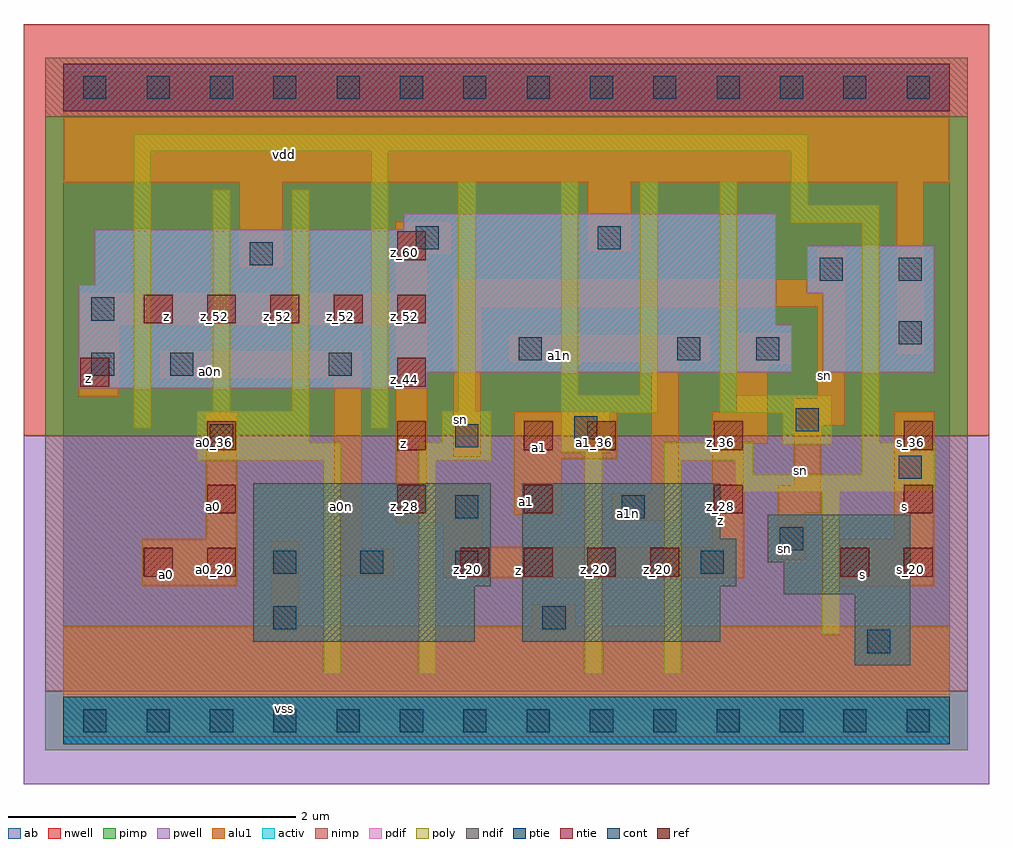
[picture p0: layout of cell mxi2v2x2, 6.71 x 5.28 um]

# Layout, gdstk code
import gdstk
lib = gdstk.Library(unit=1e-6, precision=2.5e-09)
def R(c, l, rs):  # rectangles x0, y0, x1, y1
    for r in rs: c.add(gdstk.rectangle(r[:2], r[2:], *l))
def A(c, l, x, y, w, h, nx, ny, dx, dy):  # array of equal rectangles
    R(c, l, [(x+i*dx, y+j*dy, x+i*dx+w, y+j*dy+h) for i in range(nx) for j in range(ny)])
ndif = (3, 0)
pdif = (4, 0)
ntie = (5, 0)
ptie = (6, 0)
ref = (24, 0)
cont = (25, 0)
pwell = (41, 0)
nwell = (42, 0)
activ = (43, 0)
pimp = (44, 0)
nimp = (45, 0)
poly = (46, 0)
alu1 = (49, 0)
ab = (63, 0)

mxi2v2x2 = lib.new_cell('mxi2v2x2')
R(mxi2v2x2, ndif, [(5.5,0.385,5.885,0.88), (1.32,0.55,2.86,0.935), (3.19,0.55,4.565,0.935), (5.005,0.88,5.885,1.1), (1.32,0.935,2.97,1.65), (3.19,0.935,4.675,1.265), (4.895,1.1,5.885,1.43), (3.19,1.265,4.565,1.65)])
R(mxi2v2x2, pdif, [(0.11,2.31,2.53,2.42), (0.11,2.42,5.06,2.75), (5.28,2.42,6.05,2.97), (0.11,2.75,4.95,3.025), (5.17,2.97,6.05,3.3), (0.22,3.025,4.95,3.41), (2.365,3.41,4.95,3.52)])
R(mxi2v2x2, ntie, [(0,4.235,6.16,4.565)])
R(mxi2v2x2, ptie, [(0,-0.165,6.16,0.165)])
A(mxi2v2x2, ref, 1, 1, 0.2, 0.2, 1, 3, 0, 0.44)
A(mxi2v2x2, ref, 2.76, 1, 0.2, 0.2, 4, 1, 0.44, 0)
A(mxi2v2x2, ref, 2.32, 1.44, 0.2, 0.2, 1, 3, 0, 0.44)
A(mxi2v2x2, ref, 3.2, 1.44, 0.2, 0.2, 3, 1, 1.32, 0)
A(mxi2v2x2, ref, 0.56, 2.76, 0.2, 0.2, 5, 1, 0.44, 0)
R(mxi2v2x2, ref, [(0.56,1,0.76,1.2), (5.4,1,5.6,1.2), (5.84,1,6.04,1.2), (3.2,1.88,3.4,2.08), (3.64,1.88,3.84,2.08), (4.52,1.88,4.72,2.08), (5.84,1.88,6.04,2.08), (0.12,2.32,0.32,2.52), (2.32,3.2,2.52,3.4)])
A(mxi2v2x2, cont, 0.14, -0.08, 0.16, 0.16, 14, 2, 0.44, 4.4)
R(mxi2v2x2, cont, [(5.585,0.47,5.745,0.63), (1.46,0.635,1.62,0.795), (3.33,0.635,3.49,0.795), (1.46,1.02,1.62,1.18), (2.065,1.02,2.225,1.18), (2.725,1.02,2.885,1.18), (4.43,1.02,4.59,1.18), (4.98,1.185,5.14,1.345), (2.725,1.405,2.885,1.565), (3.88,1.405,4.04,1.565), (5.805,1.68,5.965,1.84), (1.02,1.9,1.18,2.06), (2.725,1.9,2.885,2.06), (3.55,1.955,3.71,2.115), (5.09,2.01,5.25,2.17), (0.195,2.395,0.355,2.555), (0.745,2.395,0.905,2.555), (1.845,2.395,2.005,2.555), (3.165,2.505,3.325,2.665), (4.265,2.505,4.425,2.665), (4.815,2.505,4.975,2.665), (5.805,2.615,5.965,2.775), (0.195,2.78,0.355,2.94), (5.255,3.055,5.415,3.215), (5.805,3.055,5.965,3.215), (1.295,3.165,1.455,3.325), (2.45,3.275,2.61,3.435), (3.715,3.275,3.875,3.435)])
R(mxi2v2x2, pwell, [(-0.275,-0.44,6.435,1.98)])
R(mxi2v2x2, nwell, [(-0.275,1.98,6.435,4.84)])
R(mxi2v2x2, activ, [(0,-0.165,6.16,0.165), (5.5,0.385,5.885,0.88), (1.32,0.55,2.86,0.935), (3.19,0.55,4.565,0.935), (5.005,0.88,5.885,1.1), (1.32,0.935,2.97,1.65), (3.19,0.935,4.675,1.265), (4.895,1.1,5.885,1.43), (3.19,1.265,4.565,1.65), (0.11,2.31,2.53,2.42), (0.11,2.42,5.06,2.75), (5.28,2.42,6.05,2.97), (0.11,2.75,4.95,3.025), (5.17,2.97,6.05,3.3), (0.22,3.025,4.95,3.41), (2.365,3.41,4.95,3.52), (0,4.235,6.16,4.565)])
R(mxi2v2x2, pimp, [(-0.125,-0.205,6.285,0.205), (-0.125,1.98,6.285,4.195)])
R(mxi2v2x2, nimp, [(-0.125,0.205,6.285,1.98), (-0.125,4.195,6.285,4.605)])
A(mxi2v2x2, poly, 3.46, 2.26, 0.12, 1.485, 3, 1, 0.55, 0)
R(mxi2v2x2, poly, [(1.81,0.325,1.93,1.81), (2.47,0.325,2.59,1.81), (3.625,0.325,3.745,1.865), (4.175,0.325,4.295,1.81), (5.275,0.6,5.395,1.59), (4.67,1.59,6.055,1.71), (4.67,1.71,4.79,1.81), (5.55,1.71,6.055,1.93), (0.93,1.81,1.93,1.93), (2.47,1.81,2.975,1.93), (4.175,1.81,4.79,1.93), (3.46,1.865,3.8,2.14), (5,1.92,5.34,2.14), (0.93,1.93,1.71,2.15), (2.635,1.93,2.975,2.15), (5.55,1.93,5.67,3.46), (0.49,2.03,0.61,3.955), (2.14,2.03,2.26,3.955), (3.46,2.14,4.13,2.26), (4.56,2.14,5.34,2.26), (1.04,2.15,1.16,3.69), (1.59,2.15,1.71,3.69), (2.745,2.15,2.865,3.745), (5.055,3.46,5.67,3.58), (5.055,3.58,5.175,3.955), (0.49,3.955,5.175,4.075)])
R(mxi2v2x2, alu1, [(0,-0.11,6.16,0.66), (1.445,0.66,1.635,1.25), (3.26,0.66,3.56,0.81), (0.55,0.935,1.21,1.265), (5.39,0.935,6.05,1.265), (2.64,0.99,4.73,1.21), (1.885,1.005,2.295,1.195), (4.965,1.115,5.155,1.445), (1.885,1.195,2.075,2.38), (2.64,1.21,2.915,1.375), (4.51,1.21,4.73,1.925), (0.99,1.265,1.21,2.145), (5.775,1.265,6.05,2.145), (2.31,1.375,2.915,1.65), (3.81,1.39,4.275,1.58), (3.135,1.43,3.465,1.815), (4.965,1.445,5.265,1.635), (4.085,1.58,4.275,2.49), (5.075,1.635,5.265,2.05), (2.31,1.65,2.53,2.75), (3.135,1.815,3.85,2.145), (2.71,1.83,2.9,2.875), (4.51,1.925,4.895,2.145), (5.075,2.05,5.43,2.24), (4.675,2.145,4.895,2.475), (5.24,2.24,5.43,2.875), (0.11,2.255,0.385,2.75), (0.675,2.38,2.075,2.57), (4.675,2.475,5.06,2.695), (3.095,2.49,4.495,2.68), (5.79,2.545,5.98,3.74), (0.11,2.75,2.53,2.97), (2.71,2.875,5.43,3.065), (2.31,2.97,2.53,3.245), (5.24,3.065,5.43,3.285), (1.225,3.15,1.525,3.74), (2.31,3.245,2.695,3.465), (3.645,3.26,3.945,3.74), (0,3.74,6.16,4.51)])
R(mxi2v2x2, ab, [(0,0,6.16,4.4)])
mxi2v2x2.add(gdstk.Label('vss', (1.54,0.0825), layer=49, texttype=0))
mxi2v2x2.add(gdstk.Label('s', (5.555,1.0175), layer=49, texttype=0))
mxi2v2x2.add(gdstk.Label('s', (5.8425,1.485), layer=49, texttype=0))
mxi2v2x2.add(gdstk.Label('sn', (5.0125,1.1975), layer=49, texttype=0))
mxi2v2x2.add(gdstk.Label('z', (3.1625,1.045), layer=49, texttype=0))
mxi2v2x2.add(gdstk.Label('sn', (5.1225,1.7375), layer=49, texttype=0))
mxi2v2x2.add(gdstk.Label('z', (4.565,1.3875), layer=49, texttype=0))
mxi2v2x2.add(gdstk.Label('a1n', (3.925,1.4375), layer=49, texttype=0))
mxi2v2x2.add(gdstk.Label('sn', (5.2875,2.3975), layer=49, texttype=0))
mxi2v2x2.add(gdstk.Label('a1', (3.2175,1.525), layer=49, texttype=0))
mxi2v2x2.add(gdstk.Label('a1', (3.3125,1.8975), layer=49, texttype=0))
mxi2v2x2.add(gdstk.Label('a1n', (3.445,2.5375), layer=49, texttype=0))
mxi2v2x2.add(gdstk.Label('sn', (2.7575,2.09), layer=49, texttype=0))
mxi2v2x2.add(gdstk.Label('z', (2.365,1.925), layer=49, texttype=0))
mxi2v2x2.add(gdstk.Label('a0n', (1.9325,1.49), layer=49, texttype=0))
mxi2v2x2.add(gdstk.Label('a0', (0.715,1.0175), layer=49, texttype=0))
mxi2v2x2.add(gdstk.Label('a0', (1.045,1.485), layer=49, texttype=0))
mxi2v2x2.add(gdstk.Label('a0n', (1.025,2.4275), layer=49, texttype=0))
mxi2v2x2.add(gdstk.Label('z', (0.1775,2.3775), layer=49, texttype=0))
mxi2v2x2.add(gdstk.Label('z', (0.715,2.805), layer=49, texttype=0))
mxi2v2x2.add(gdstk.Label('vdd', (1.54,3.9325), layer=49, texttype=0))
mxi2v2x2.add(gdstk.Label('a1_36', (3.69,1.93), layer=24, texttype=0))
mxi2v2x2.add(gdstk.Label('a1_36', (3.25,1.93), layer=24, texttype=0))
mxi2v2x2.add(gdstk.Label('s_20', (5.45,1.05), layer=24, texttype=0))
mxi2v2x2.add(gdstk.Label('s_20', (5.89,1.05), layer=24, texttype=0))
mxi2v2x2.add(gdstk.Label('s_28', (5.89,1.49), layer=24, texttype=0))
mxi2v2x2.add(gdstk.Label('z_36', (4.57,1.93), layer=24, texttype=0))
mxi2v2x2.add(gdstk.Label('z_28', (4.57,1.49), layer=24, texttype=0))
mxi2v2x2.add(gdstk.Label('z_20', (4.13,1.05), layer=24, texttype=0))
mxi2v2x2.add(gdstk.Label('z_20', (3.69,1.05), layer=24, texttype=0))
mxi2v2x2.add(gdstk.Label('z_20', (3.25,1.05), layer=24, texttype=0))
mxi2v2x2.add(gdstk.Label('z_20', (2.81,1.05), layer=24, texttype=0))
mxi2v2x2.add(gdstk.Label('z_36', (2.37,1.93), layer=24, texttype=0))
mxi2v2x2.add(gdstk.Label('z_44', (2.37,2.37), layer=24, texttype=0))
mxi2v2x2.add(gdstk.Label('z_52', (2.37,2.81), layer=24, texttype=0))
mxi2v2x2.add(gdstk.Label('a1_28', (3.25,1.49), layer=24, texttype=0))
mxi2v2x2.add(gdstk.Label('s_36', (5.89,1.93), layer=24, texttype=0))
mxi2v2x2.add(gdstk.Label('a0_20', (1.05,1.05), layer=24, texttype=0))
mxi2v2x2.add(gdstk.Label('z_60', (2.37,3.25), layer=24, texttype=0))
mxi2v2x2.add(gdstk.Label('a0_36', (1.05,1.93), layer=24, texttype=0))
mxi2v2x2.add(gdstk.Label('a0_28', (1.05,1.49), layer=24, texttype=0))
mxi2v2x2.add(gdstk.Label('z_28', (2.37,1.49), layer=24, texttype=0))
mxi2v2x2.add(gdstk.Label('z_52', (1.93,2.81), layer=24, texttype=0))
mxi2v2x2.add(gdstk.Label('z_52', (1.49,2.81), layer=24, texttype=0))
mxi2v2x2.add(gdstk.Label('z_52', (1.05,2.81), layer=24, texttype=0))
mxi2v2x2.add(gdstk.Label('z_52', (0.61,2.81), layer=24, texttype=0))
mxi2v2x2.add(gdstk.Label('a0_36', (0.61,1.05), layer=24, texttype=0))
mxi2v2x2.add(gdstk.Label('z_44', (0.17,2.37), layer=24, texttype=0))

lib.write_gds('mxi2v2x2.gds')
